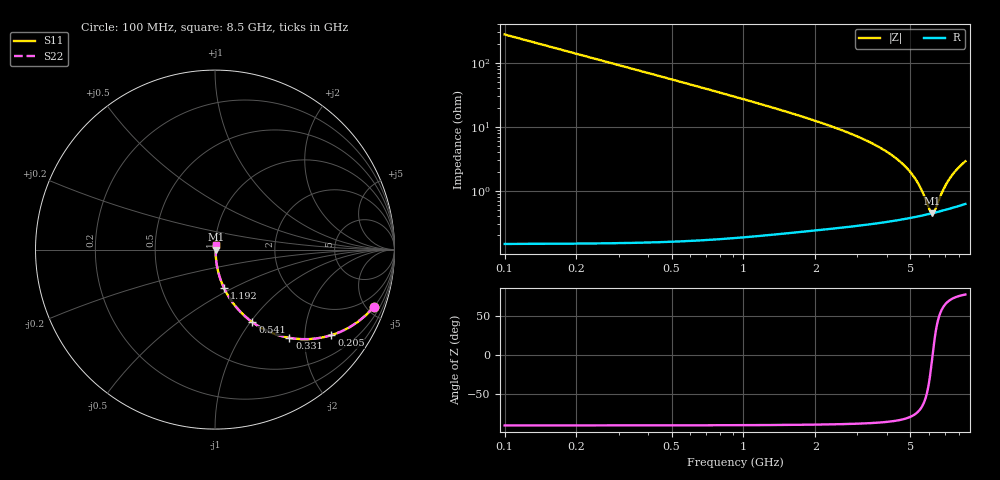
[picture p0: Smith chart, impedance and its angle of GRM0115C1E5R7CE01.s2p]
!Murata Part Number: GRM0115C1E5R7CE01
!These Parameters are Measured in Series Mode Connection
!Data Generated on Mar 30, 2021
!  o--ll--o
!Port1  Port2
!  o------o
!Operation Temp=25[degC], DC Bias Voltage=0[V]
!Freq. Start=100[MHz] Stop=9[GHz] 401[Steps]
# Hz S RI R 50
!Freq.(Hz) S11(Real) S11(Imag) S21(Real) S21(Imag) S12(Real) S12(Imag) S22(Real) S22(Imag)
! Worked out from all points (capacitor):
!   401 points, 100 MHz to 8.5 GHz, reference 50 ohm
!   read as one part in series: C = 5.7 pF near 142 MHz
!   lowest |Z| = 447 mohm at 6.19 GHz (marker M1)
!   series resonance near 6.195 GHz, so ESL is about 120 pH
!   S11 on the Smith chart (normalised r, x): 100 MHz: 1.00, -5.58; 205 MHz: 1.00, -2.72; 331 MHz: 1.00, -1.68; 541 MHz: 1.00, -1.02; 1.192 GHz: 1.00, -0.45; 8.5 GHz: 1.01, +0.06
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1e8  0.8861 -0.3174  0.1139 0.3174  0.1139 0.3174  0.8861 -0.3174
1.42e8  0.7941 -0.4039  0.2059 0.4039  0.2059 0.4039  0.7941 -0.4039
2.05e8  0.6491 -0.4767  0.3509 0.4767  0.3509 0.4767  0.6491 -0.4767
2.68e8  0.5194 -0.4989  0.4806 0.4989  0.4806 0.4989  0.5194 -0.4989
3.31e8  0.4144 -0.4917  0.5856 0.4917  0.5856 0.4917  0.4144 -0.4917
4.36e8  0.2891 -0.4521  0.7109 0.4521  0.7109 0.4521  0.2891 -0.4521
5.41e8  0.2083 -0.4045  0.7917 0.4045  0.7917 0.4045  0.2083 -0.4045
7.93e8  0.1081 -0.3079  0.8919 0.3079  0.8919 0.3079  0.1081 -0.3079
1.192e9  0.0499 -0.2134  0.9501 0.2134  0.9501 0.2134  0.0499 -0.2134
1.507e9  0.0313 -0.1679  0.9687 0.1679  0.9687 0.1679  0.0313 -0.1679
2.914e9  0.00821 -0.0733  0.9918 0.0733  0.9918 0.0733  0.00821 -0.0733
4.3e9  0.00449 -0.0331  0.9955 0.0331  0.9955 0.0331  0.00449 -0.0331
5.119e9  0.0041 -0.017  0.9959 0.017  0.9959 0.017  0.0041 -0.017
5.434e9  0.00413 -0.0116  0.9959 0.0116  0.9959 0.0116  0.00413 -0.0116
5.707e9  0.0042 -0.00725  0.9958 0.00725  0.9958 0.00725  0.0042 -0.00725
6.022e9  0.00435 -0.00249  0.9957 0.00249  0.9957 0.00249  0.00435 -0.00249
6.19e9  0.00445 -6.77e-05  0.9955 6.77e-05  0.9955 6.77e-05  0.00445 -6.77e-05
6.316e9  0.00454 0.00171  0.9955 -0.00171  0.9955 -0.00171  0.00454 0.00171
6.757e9  0.00489 0.00764  0.9951 -0.00764  0.9951 -0.00764  0.00489 0.00764
7.114e9  0.00524 0.0122  0.9948 -0.0122  0.9948 -0.0122  0.00524 0.0122
7.723e9  0.00593 0.0194  0.9941 -0.0194  0.9941 -0.0194  0.00593 0.0194
8.5e9  0.00698 0.028  0.993 -0.028  0.993 -0.028  0.00698 0.028
